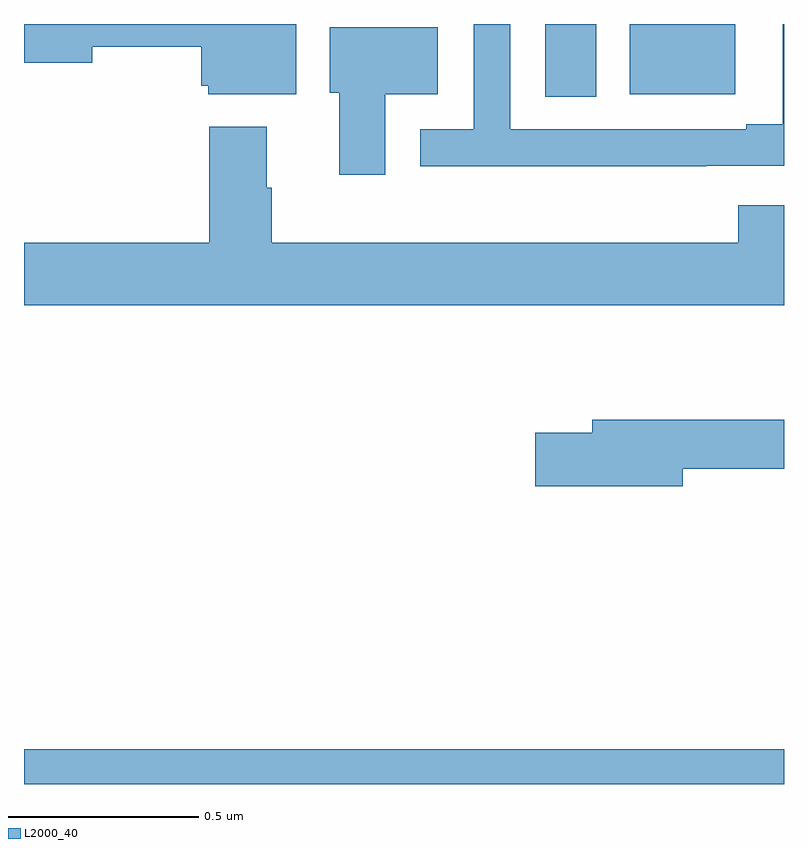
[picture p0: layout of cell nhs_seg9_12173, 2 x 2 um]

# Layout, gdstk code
import gdstk
lib = gdstk.Library(unit=1e-6, precision=1e-09)
def R(c, l, rs):  # rectangles x0, y0, x1, y1
    for r in rs: c.add(gdstk.rectangle(r[:2], r[2:], *l))
def P(c, l, *ps):  # polygons
    for p in ps: c.add(gdstk.Polygon(p, *l))
L2000_40 = (2000, 40)

nhs_seg9_12173 = lib.new_cell('nhs_seg9_12173')
R(nhs_seg9_12173, L2000_40, [(265,1188.5,267,1188.592), (266.372,1190.308,266.506,1190.5), (266.594,1190.315,266.872,1190.5)])
P(nhs_seg9_12173, L2000_40, [(266.795,1190.127),(267,1190.127),(267,1190.5),(266.997,1190.5),(266.997,1190.236),(266.9,1190.236),(266.9,1190.223),(266.28,1190.223),(266.28,1190.5),(266.184,1190.5),(266.184,1190.223),(266.043,1190.223),(266.043,1190.126),(266.795,1190.126)],
  [(265.717,1190.5),(265,1190.5),(265,1190.398),(265.18,1190.398),(265.18,1190.44),(265.466,1190.44),(265.466,1190.337),(265.485,1190.337),(265.485,1190.315),(265.717,1190.315)],
  [(265.951,1190.315),(266.089,1190.315),(266.089,1190.491),(265.805,1190.491),(265.805,1190.319),(265.829,1190.319),(265.829,1190.103),(265.951,1190.103)],
  [(267,1190.023),(266.879,1190.023),(266.879,1189.924),(265.652,1189.924),(265.652,1190.069),(265.639,1190.069),(265.639,1190.23),(265.487,1190.23),(265.487,1189.924),(265,1189.924),(265,1189.76),(267,1189.76)],
  [(266.734,1189.33),(267,1189.33),(267,1189.459),(266.495,1189.459),(266.495,1189.425),(266.346,1189.425),(266.346,1189.283),(266.734,1189.283)])

lib.write_gds('nhs_seg9_12173.gds')
